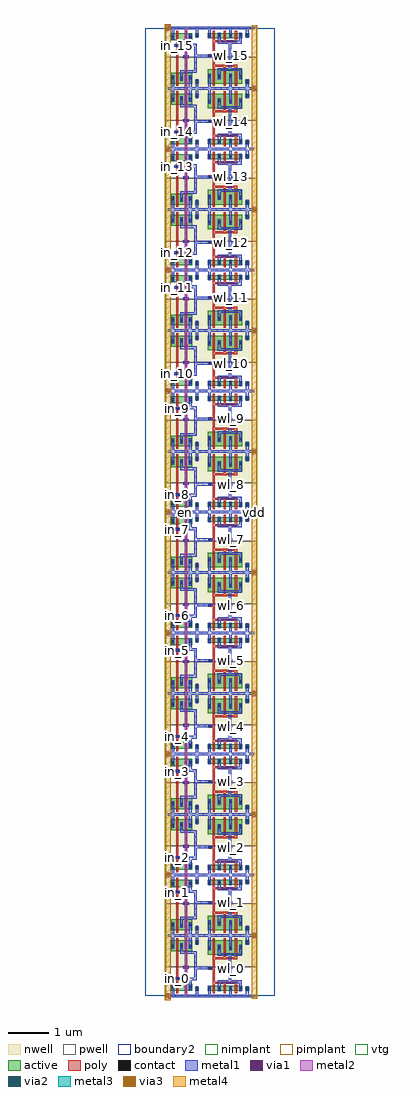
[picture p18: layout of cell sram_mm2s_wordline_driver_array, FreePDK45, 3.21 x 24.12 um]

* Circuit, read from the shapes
.subckt sram_mm2s_wordline_driver_array en gnd in_0 in_1 in_10 in_11 in_12 in_13 in_14 in_15 in_2 in_3 in_4 in_5 in_6 in_7 in_8 in_9 vdd wl_0 wl_1 wl_10 wl_11 wl_12 wl_13 wl_14 wl_15 wl_2 wl_3 wl_4 wl_5 wl_6 wl_7 wl_8 wl_9
M1 sram_mm2s_wordline_driver_0/sram_mm2s_pnand2_0/sram_mm2s_nmos_m1_w0_180_sm1_dactive_2/D in_0 gnd gnd nfet w=0.18u l=0.05u
M2 sram_mm2s_wordline_driver_1/sram_mm2s_pnand2_0/sram_mm2s_nmos_m1_w0_180_sm1_dactive_2/D in_1 gnd gnd nfet w=0.18u l=0.05u
M3 sram_mm2s_wordline_driver_2/sram_mm2s_pnand2_0/sram_mm2s_nmos_m1_w0_180_sm1_dactive_2/D in_2 gnd gnd nfet w=0.18u l=0.05u
M4 sram_mm2s_wordline_driver_3/sram_mm2s_pnand2_0/sram_mm2s_nmos_m1_w0_180_sm1_dactive_2/D in_3 gnd gnd nfet w=0.18u l=0.05u
M5 sram_mm2s_wordline_driver_4/sram_mm2s_pnand2_0/sram_mm2s_nmos_m1_w0_180_sm1_dactive_2/D in_4 gnd gnd nfet w=0.18u l=0.05u
M6 sram_mm2s_wordline_driver_5/sram_mm2s_pnand2_0/sram_mm2s_nmos_m1_w0_180_sm1_dactive_2/D in_5 gnd gnd nfet w=0.18u l=0.05u
M7 sram_mm2s_wordline_driver_6/sram_mm2s_pnand2_0/sram_mm2s_nmos_m1_w0_180_sm1_dactive_2/D in_6 gnd gnd nfet w=0.18u l=0.05u
M8 sram_mm2s_wordline_driver_7/sram_mm2s_pnand2_0/sram_mm2s_nmos_m1_w0_180_sm1_dactive_2/D in_7 gnd gnd nfet w=0.18u l=0.05u
M9 sram_mm2s_wordline_driver_8/sram_mm2s_pnand2_0/sram_mm2s_nmos_m1_w0_180_sm1_dactive_2/D in_8 gnd gnd nfet w=0.18u l=0.05u
M10 sram_mm2s_wordline_driver_9/sram_mm2s_pnand2_0/sram_mm2s_nmos_m1_w0_180_sm1_dactive_2/D in_9 gnd gnd nfet w=0.18u l=0.05u
M11 sram_mm2s_wordline_driver_10/sram_mm2s_pnand2_0/sram_mm2s_nmos_m1_w0_180_sm1_dactive_2/D in_10 gnd gnd nfet w=0.18u l=0.05u
M12 sram_mm2s_wordline_driver_11/sram_mm2s_pnand2_0/sram_mm2s_nmos_m1_w0_180_sm1_dactive_2/D in_11 gnd gnd nfet w=0.18u l=0.05u
M13 sram_mm2s_wordline_driver_12/sram_mm2s_pnand2_0/sram_mm2s_nmos_m1_w0_180_sm1_dactive_2/D in_12 gnd gnd nfet w=0.18u l=0.05u
M14 sram_mm2s_wordline_driver_13/sram_mm2s_pnand2_0/sram_mm2s_nmos_m1_w0_180_sm1_dactive_2/D in_13 gnd gnd nfet w=0.18u l=0.05u
M15 sram_mm2s_wordline_driver_14/sram_mm2s_pnand2_0/sram_mm2s_nmos_m1_w0_180_sm1_dactive_2/D in_14 gnd gnd nfet w=0.18u l=0.05u
M16 sram_mm2s_wordline_driver_15/sram_mm2s_pnand2_0/sram_mm2s_nmos_m1_w0_180_sm1_dactive_2/D in_15 gnd gnd nfet w=0.18u l=0.05u
M17 sram_mm2s_wordline_driver_0/sram_mm2s_pinv_0_1/A en sram_mm2s_wordline_driver_0/sram_mm2s_pnand2_0/sram_mm2s_nmos_m1_w0_180_sm1_dactive_2/D gnd nfet w=0.18u l=0.05u
M18 sram_mm2s_wordline_driver_1/sram_mm2s_pinv_0_1/A en sram_mm2s_wordline_driver_1/sram_mm2s_pnand2_0/sram_mm2s_nmos_m1_w0_180_sm1_dactive_2/D gnd nfet w=0.18u l=0.05u
M19 sram_mm2s_wordline_driver_2/sram_mm2s_pinv_0_1/A en sram_mm2s_wordline_driver_2/sram_mm2s_pnand2_0/sram_mm2s_nmos_m1_w0_180_sm1_dactive_2/D gnd nfet w=0.18u l=0.05u
M20 sram_mm2s_wordline_driver_3/sram_mm2s_pinv_0_1/A en sram_mm2s_wordline_driver_3/sram_mm2s_pnand2_0/sram_mm2s_nmos_m1_w0_180_sm1_dactive_2/D gnd nfet w=0.18u l=0.05u
M21 sram_mm2s_wordline_driver_4/sram_mm2s_pinv_0_1/A en sram_mm2s_wordline_driver_4/sram_mm2s_pnand2_0/sram_mm2s_nmos_m1_w0_180_sm1_dactive_2/D gnd nfet w=0.18u l=0.05u
M22 sram_mm2s_wordline_driver_5/sram_mm2s_pinv_0_1/A en sram_mm2s_wordline_driver_5/sram_mm2s_pnand2_0/sram_mm2s_nmos_m1_w0_180_sm1_dactive_2/D gnd nfet w=0.18u l=0.05u
M23 sram_mm2s_wordline_driver_6/sram_mm2s_pinv_0_1/A en sram_mm2s_wordline_driver_6/sram_mm2s_pnand2_0/sram_mm2s_nmos_m1_w0_180_sm1_dactive_2/D gnd nfet w=0.18u l=0.05u
M24 sram_mm2s_wordline_driver_7/sram_mm2s_pinv_0_1/A en sram_mm2s_wordline_driver_7/sram_mm2s_pnand2_0/sram_mm2s_nmos_m1_w0_180_sm1_dactive_2/D gnd nfet w=0.18u l=0.05u
M25 sram_mm2s_wordline_driver_8/sram_mm2s_pinv_0_1/A en sram_mm2s_wordline_driver_8/sram_mm2s_pnand2_0/sram_mm2s_nmos_m1_w0_180_sm1_dactive_2/D gnd nfet w=0.18u l=0.05u
M26 sram_mm2s_wordline_driver_9/sram_mm2s_pinv_0_1/A en sram_mm2s_wordline_driver_9/sram_mm2s_pnand2_0/sram_mm2s_nmos_m1_w0_180_sm1_dactive_2/D gnd nfet w=0.18u l=0.05u
M27 sram_mm2s_wordline_driver_10/sram_mm2s_pinv_0_1/A en sram_mm2s_wordline_driver_10/sram_mm2s_pnand2_0/sram_mm2s_nmos_m1_w0_180_sm1_dactive_2/D gnd nfet w=0.18u l=0.05u
M28 sram_mm2s_wordline_driver_11/sram_mm2s_pinv_0_1/A en sram_mm2s_wordline_driver_11/sram_mm2s_pnand2_0/sram_mm2s_nmos_m1_w0_180_sm1_dactive_2/D gnd nfet w=0.18u l=0.05u
M29 sram_mm2s_wordline_driver_12/sram_mm2s_pinv_0_1/A en sram_mm2s_wordline_driver_12/sram_mm2s_pnand2_0/sram_mm2s_nmos_m1_w0_180_sm1_dactive_2/D gnd nfet w=0.18u l=0.05u
M30 sram_mm2s_wordline_driver_13/sram_mm2s_pinv_0_1/A en sram_mm2s_wordline_driver_13/sram_mm2s_pnand2_0/sram_mm2s_nmos_m1_w0_180_sm1_dactive_2/D gnd nfet w=0.18u l=0.05u
M31 sram_mm2s_wordline_driver_14/sram_mm2s_pinv_0_1/A en sram_mm2s_wordline_driver_14/sram_mm2s_pnand2_0/sram_mm2s_nmos_m1_w0_180_sm1_dactive_2/D gnd nfet w=0.18u l=0.05u
M32 sram_mm2s_wordline_driver_15/sram_mm2s_pinv_0_1/A en sram_mm2s_wordline_driver_15/sram_mm2s_pnand2_0/sram_mm2s_nmos_m1_w0_180_sm1_dactive_2/D gnd nfet w=0.18u l=0.05u
M33 wl_0 sram_mm2s_wordline_driver_0/sram_mm2s_pinv_0_1/A gnd gnd nfet w=0.12u l=0.05u m=3
M34 wl_1 sram_mm2s_wordline_driver_1/sram_mm2s_pinv_0_1/A gnd gnd nfet w=0.12u l=0.05u m=3
M35 wl_2 sram_mm2s_wordline_driver_2/sram_mm2s_pinv_0_1/A gnd gnd nfet w=0.12u l=0.05u m=3
M36 wl_3 sram_mm2s_wordline_driver_3/sram_mm2s_pinv_0_1/A gnd gnd nfet w=0.12u l=0.05u m=3
M37 wl_4 sram_mm2s_wordline_driver_4/sram_mm2s_pinv_0_1/A gnd gnd nfet w=0.12u l=0.05u m=3
M38 wl_5 sram_mm2s_wordline_driver_5/sram_mm2s_pinv_0_1/A gnd gnd nfet w=0.12u l=0.05u m=3
M39 wl_6 sram_mm2s_wordline_driver_6/sram_mm2s_pinv_0_1/A gnd gnd nfet w=0.12u l=0.05u m=3
M40 wl_7 sram_mm2s_wordline_driver_7/sram_mm2s_pinv_0_1/A gnd gnd nfet w=0.12u l=0.05u m=3
M41 wl_8 sram_mm2s_wordline_driver_8/sram_mm2s_pinv_0_1/A gnd gnd nfet w=0.12u l=0.05u m=3
M42 wl_9 sram_mm2s_wordline_driver_9/sram_mm2s_pinv_0_1/A gnd gnd nfet w=0.12u l=0.05u m=3
M43 wl_10 sram_mm2s_wordline_driver_10/sram_mm2s_pinv_0_1/A gnd gnd nfet w=0.12u l=0.05u m=3
M44 wl_11 sram_mm2s_wordline_driver_11/sram_mm2s_pinv_0_1/A gnd gnd nfet w=0.12u l=0.05u m=3
M45 wl_12 sram_mm2s_wordline_driver_12/sram_mm2s_pinv_0_1/A gnd gnd nfet w=0.12u l=0.05u m=3
M46 wl_13 sram_mm2s_wordline_driver_13/sram_mm2s_pinv_0_1/A gnd gnd nfet w=0.12u l=0.05u m=3
M47 wl_14 sram_mm2s_wordline_driver_14/sram_mm2s_pinv_0_1/A gnd gnd nfet w=0.12u l=0.05u m=3
M48 wl_15 sram_mm2s_wordline_driver_15/sram_mm2s_pinv_0_1/A gnd gnd nfet w=0.12u l=0.05u m=3
M49 sram_mm2s_wordline_driver_0/sram_mm2s_pinv_0_1/A in_0 vdd vdd pfet w=0.27u l=0.05u
M50 sram_mm2s_wordline_driver_1/sram_mm2s_pinv_0_1/A in_1 vdd vdd pfet w=0.27u l=0.05u
M51 sram_mm2s_wordline_driver_2/sram_mm2s_pinv_0_1/A in_2 vdd vdd pfet w=0.27u l=0.05u
M52 sram_mm2s_wordline_driver_3/sram_mm2s_pinv_0_1/A in_3 vdd vdd pfet w=0.27u l=0.05u
M53 sram_mm2s_wordline_driver_4/sram_mm2s_pinv_0_1/A in_4 vdd vdd pfet w=0.27u l=0.05u
M54 sram_mm2s_wordline_driver_5/sram_mm2s_pinv_0_1/A in_5 vdd vdd pfet w=0.27u l=0.05u
M55 sram_mm2s_wordline_driver_6/sram_mm2s_pinv_0_1/A in_6 vdd vdd pfet w=0.27u l=0.05u
M56 sram_mm2s_wordline_driver_7/sram_mm2s_pinv_0_1/A in_7 vdd vdd pfet w=0.27u l=0.05u
M57 sram_mm2s_wordline_driver_8/sram_mm2s_pinv_0_1/A in_8 vdd vdd pfet w=0.27u l=0.05u
M58 sram_mm2s_wordline_driver_9/sram_mm2s_pinv_0_1/A in_9 vdd vdd pfet w=0.27u l=0.05u
M59 sram_mm2s_wordline_driver_10/sram_mm2s_pinv_0_1/A in_10 vdd vdd pfet w=0.27u l=0.05u
M60 sram_mm2s_wordline_driver_11/sram_mm2s_pinv_0_1/A in_11 vdd vdd pfet w=0.27u l=0.05u
M61 sram_mm2s_wordline_driver_12/sram_mm2s_pinv_0_1/A in_12 vdd vdd pfet w=0.27u l=0.05u
M62 sram_mm2s_wordline_driver_13/sram_mm2s_pinv_0_1/A in_13 vdd vdd pfet w=0.27u l=0.05u
M63 sram_mm2s_wordline_driver_14/sram_mm2s_pinv_0_1/A in_14 vdd vdd pfet w=0.27u l=0.05u
M64 sram_mm2s_wordline_driver_15/sram_mm2s_pinv_0_1/A in_15 vdd vdd pfet w=0.27u l=0.05u
M65 vdd en sram_mm2s_wordline_driver_0/sram_mm2s_pinv_0_1/A vdd pfet w=0.27u l=0.05u
M66 vdd en sram_mm2s_wordline_driver_1/sram_mm2s_pinv_0_1/A vdd pfet w=0.27u l=0.05u
M67 vdd en sram_mm2s_wordline_driver_2/sram_mm2s_pinv_0_1/A vdd pfet w=0.27u l=0.05u
M68 vdd en sram_mm2s_wordline_driver_3/sram_mm2s_pinv_0_1/A vdd pfet w=0.27u l=0.05u
M69 vdd en sram_mm2s_wordline_driver_4/sram_mm2s_pinv_0_1/A vdd pfet w=0.27u l=0.05u
M70 vdd en sram_mm2s_wordline_driver_5/sram_mm2s_pinv_0_1/A vdd pfet w=0.27u l=0.05u
M71 vdd en sram_mm2s_wordline_driver_6/sram_mm2s_pinv_0_1/A vdd pfet w=0.27u l=0.05u
M72 vdd en sram_mm2s_wordline_driver_7/sram_mm2s_pinv_0_1/A vdd pfet w=0.27u l=0.05u
M73 vdd en sram_mm2s_wordline_driver_8/sram_mm2s_pinv_0_1/A vdd pfet w=0.27u l=0.05u
M74 vdd en sram_mm2s_wordline_driver_9/sram_mm2s_pinv_0_1/A vdd pfet w=0.27u l=0.05u
M75 vdd en sram_mm2s_wordline_driver_10/sram_mm2s_pinv_0_1/A vdd pfet w=0.27u l=0.05u
M76 vdd en sram_mm2s_wordline_driver_11/sram_mm2s_pinv_0_1/A vdd pfet w=0.27u l=0.05u
M77 vdd en sram_mm2s_wordline_driver_12/sram_mm2s_pinv_0_1/A vdd pfet w=0.27u l=0.05u
M78 vdd en sram_mm2s_wordline_driver_13/sram_mm2s_pinv_0_1/A vdd pfet w=0.27u l=0.05u
M79 vdd en sram_mm2s_wordline_driver_14/sram_mm2s_pinv_0_1/A vdd pfet w=0.27u l=0.05u
M80 vdd en sram_mm2s_wordline_driver_15/sram_mm2s_pinv_0_1/A vdd pfet w=0.27u l=0.05u
M81 wl_0 sram_mm2s_wordline_driver_0/sram_mm2s_pinv_0_1/A vdd vdd pfet w=0.36u l=0.05u m=3
M82 wl_1 sram_mm2s_wordline_driver_1/sram_mm2s_pinv_0_1/A vdd vdd pfet w=0.36u l=0.05u m=3
M83 wl_2 sram_mm2s_wordline_driver_2/sram_mm2s_pinv_0_1/A vdd vdd pfet w=0.36u l=0.05u m=3
M84 wl_3 sram_mm2s_wordline_driver_3/sram_mm2s_pinv_0_1/A vdd vdd pfet w=0.36u l=0.05u m=3
M85 wl_4 sram_mm2s_wordline_driver_4/sram_mm2s_pinv_0_1/A vdd vdd pfet w=0.36u l=0.05u m=3
M86 wl_5 sram_mm2s_wordline_driver_5/sram_mm2s_pinv_0_1/A vdd vdd pfet w=0.36u l=0.05u m=3
M87 wl_6 sram_mm2s_wordline_driver_6/sram_mm2s_pinv_0_1/A vdd vdd pfet w=0.36u l=0.05u m=3
M88 wl_7 sram_mm2s_wordline_driver_7/sram_mm2s_pinv_0_1/A vdd vdd pfet w=0.36u l=0.05u m=3
M89 wl_8 sram_mm2s_wordline_driver_8/sram_mm2s_pinv_0_1/A vdd vdd pfet w=0.36u l=0.05u m=3
M90 wl_9 sram_mm2s_wordline_driver_9/sram_mm2s_pinv_0_1/A vdd vdd pfet w=0.36u l=0.05u m=3
M91 wl_10 sram_mm2s_wordline_driver_10/sram_mm2s_pinv_0_1/A vdd vdd pfet w=0.36u l=0.05u m=3
M92 wl_11 sram_mm2s_wordline_driver_11/sram_mm2s_pinv_0_1/A vdd vdd pfet w=0.36u l=0.05u m=3
M93 wl_12 sram_mm2s_wordline_driver_12/sram_mm2s_pinv_0_1/A vdd vdd pfet w=0.36u l=0.05u m=3
M94 wl_13 sram_mm2s_wordline_driver_13/sram_mm2s_pinv_0_1/A vdd vdd pfet w=0.36u l=0.05u m=3
M95 wl_14 sram_mm2s_wordline_driver_14/sram_mm2s_pinv_0_1/A vdd vdd pfet w=0.36u l=0.05u m=3
M96 wl_15 sram_mm2s_wordline_driver_15/sram_mm2s_pinv_0_1/A vdd vdd pfet w=0.36u l=0.05u m=3
.ends

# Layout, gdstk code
import gdstk
lib = gdstk.Library(unit=1e-6, precision=5e-10)
def R(c, l, rs):  # rectangles x0, y0, x1, y1
    for r in rs: c.add(gdstk.rectangle(r[:2], r[2:], *l))
def A(c, l, x, y, w, h, nx, ny, dx, dy):  # array of equal rectangles
    R(c, l, [(x+i*dx, y+j*dy, x+i*dx+w, y+j*dy+h) for i in range(nx) for j in range(ny)])
active = (1, 0)
pwell = (2, 0)
nwell = (3, 0)
nimplant = (4, 0)
pimplant = (5, 0)
vtg = (6, 0)
poly = (9, 0)
contact = (10, 0)
metal1 = (11, 0)
via1 = (12, 0)
metal2 = (13, 0)
via2 = (14, 0)
metal3 = (15, 0)
via3 = (16, 0)
metal4 = (17, 0)
boundary2 = (239, 0)

sram_mm2s_contact_11 = lib.new_cell('sram_mm2s_contact_11')
R(sram_mm2s_contact_11, active, [(0,0.0225,0.09,0.1125)])
R(sram_mm2s_contact_11, nwell, [(-0.055,-0.0325,0.145,0.1675)])
R(sram_mm2s_contact_11, pimplant, [(0,0.0225,0.09,0.1125)])
R(sram_mm2s_contact_11, contact, [(0.0125,0.035,0.0775,0.1)])
R(sram_mm2s_contact_11, metal1, [(0.0125,0,0.0775,0.135)])
R(sram_mm2s_contact_11, boundary2, [(-0.055,-0.0325,0.145,0.1675)])

sram_mm2s_pmos_m1_w0_270 = lib.new_cell('sram_mm2s_pmos_m1_w0_270_sm1_dm1')
R(sram_mm2s_pmos_m1_w0_270, active, [(0,0,0.305,0.27)])
R(sram_mm2s_pmos_m1_w0_270, nwell, [(-0.08,-0.08,0.385,0.35)])
R(sram_mm2s_pmos_m1_w0_270, pimplant, [(0,0,0.305,0.27)])
R(sram_mm2s_pmos_m1_w0_270, vtg, [(-0.08,-0.08,0.385,0.35)])
R(sram_mm2s_pmos_m1_w0_270, poly, [(0.1275,-0.055,0.1775,0.325), (0.1275,-0.055,0.1775,0.325)])
R(sram_mm2s_pmos_m1_w0_270, metal1, [(0.0125,0.0675,0.0775,0.2025), (0.2275,0.0675,0.2925,0.2025)])
R(sram_mm2s_pmos_m1_w0_270, boundary2, [(-0.08,-0.08,0.385,0.35)])
sram_mm2s_pmos_m1_w0_270.add(gdstk.Reference(sram_mm2s_contact_11, (0,0.0675)))
sram_mm2s_pmos_m1_w0_270.add(gdstk.Reference(sram_mm2s_contact_11, (0.215,0.0675)))
sram_mm2s_pmos_m1_w0_270.add(gdstk.Label('G', (0.1525,0.135), layer=9, texttype=0))
sram_mm2s_pmos_m1_w0_270.add(gdstk.Label('S', (0.045,0.135), layer=11, texttype=0))
sram_mm2s_pmos_m1_w0_270.add(gdstk.Label('D', (0.26,0.135), layer=11, texttype=0))

sram_mm2s_contact_10 = lib.new_cell('sram_mm2s_contact_10')
R(sram_mm2s_contact_10, active, [(0,0.0225,0.09,0.1125)])
R(sram_mm2s_contact_10, pwell, [(-0.055,-0.0325,0.145,0.1675)])
R(sram_mm2s_contact_10, nimplant, [(0,0.0225,0.09,0.1125)])
R(sram_mm2s_contact_10, contact, [(0.0125,0.035,0.0775,0.1)])
R(sram_mm2s_contact_10, metal1, [(0.0125,0,0.0775,0.135)])
R(sram_mm2s_contact_10, boundary2, [(-0.055,-0.0325,0.145,0.1675)])

sram_mm2s_nmos_m1_w0_180 = lib.new_cell('sram_mm2s_nmos_m1_w0_180_sm1_dactive')
R(sram_mm2s_nmos_m1_w0_180, active, [(0,0,0.305,0.18), (0.215,0.045,0.305,0.135)])
R(sram_mm2s_nmos_m1_w0_180, pwell, [(-0.08,-0.08,0.385,0.26)])
R(sram_mm2s_nmos_m1_w0_180, nimplant, [(0,0,0.305,0.18)])
R(sram_mm2s_nmos_m1_w0_180, vtg, [(-0.08,-0.08,0.385,0.26)])
R(sram_mm2s_nmos_m1_w0_180, poly, [(0.1275,-0.055,0.1775,0.235), (0.1275,-0.055,0.1775,0.235)])
R(sram_mm2s_nmos_m1_w0_180, metal1, [(0.0125,0.0225,0.0775,0.1575)])
R(sram_mm2s_nmos_m1_w0_180, boundary2, [(-0.08,-0.08,0.385,0.26)])
sram_mm2s_nmos_m1_w0_180.add(gdstk.Reference(sram_mm2s_contact_10, (0,0.0225)))
sram_mm2s_nmos_m1_w0_180.add(gdstk.Label('G', (0.1525,0.09), layer=9, texttype=0))
sram_mm2s_nmos_m1_w0_180.add(gdstk.Label('S', (0.045,0.09), layer=11, texttype=0))
sram_mm2s_nmos_m1_w0_180.add(gdstk.Label('D', (0.26,0.09), layer=1, texttype=0))

c_sram_mm2s_nmos_m1_w0_180 = lib.new_cell('sram_mm2s_nmos_m1_w0_180_sactive_dm1')
R(c_sram_mm2s_nmos_m1_w0_180, active, [(0,0,0.305,0.18), (0,0.045,0.09,0.135)])
R(c_sram_mm2s_nmos_m1_w0_180, pwell, [(-0.08,-0.08,0.385,0.26)])
R(c_sram_mm2s_nmos_m1_w0_180, nimplant, [(0,0,0.305,0.18)])
R(c_sram_mm2s_nmos_m1_w0_180, vtg, [(-0.08,-0.08,0.385,0.26)])
R(c_sram_mm2s_nmos_m1_w0_180, poly, [(0.1275,-0.055,0.1775,0.235), (0.1275,-0.055,0.1775,0.235)])
R(c_sram_mm2s_nmos_m1_w0_180, metal1, [(0.2275,0.0225,0.2925,0.1575)])
R(c_sram_mm2s_nmos_m1_w0_180, boundary2, [(-0.08,-0.08,0.385,0.26)])
c_sram_mm2s_nmos_m1_w0_180.add(gdstk.Reference(sram_mm2s_contact_10, (0.215,0.0225)))
c_sram_mm2s_nmos_m1_w0_180.add(gdstk.Label('G', (0.1525,0.09), layer=9, texttype=0))
c_sram_mm2s_nmos_m1_w0_180.add(gdstk.Label('S', (0.045,0.09), layer=1, texttype=0))
c_sram_mm2s_nmos_m1_w0_180.add(gdstk.Label('D', (0.26,0.09), layer=11, texttype=0))

sram_mm2s_contact_12 = lib.new_cell('sram_mm2s_contact_12')
R(sram_mm2s_contact_12, active, [(0,0.0225,0.09,0.1125)])
R(sram_mm2s_contact_12, nwell, [(-0.055,-0.0325,0.145,0.1675)])
R(sram_mm2s_contact_12, nimplant, [(0,0.0225,0.09,0.1125)])
R(sram_mm2s_contact_12, contact, [(0.0125,0.035,0.0775,0.1)])
R(sram_mm2s_contact_12, metal1, [(0.0125,0,0.0775,0.135)])
R(sram_mm2s_contact_12, boundary2, [(-0.055,-0.0325,0.145,0.1675)])

sram_mm2s_contact_13 = lib.new_cell('sram_mm2s_contact_13')
R(sram_mm2s_contact_13, active, [(0,0.0225,0.09,0.1125)])
R(sram_mm2s_contact_13, pwell, [(-0.055,-0.0325,0.145,0.1675)])
R(sram_mm2s_contact_13, pimplant, [(0,0.0225,0.09,0.1125)])
R(sram_mm2s_contact_13, contact, [(0.0125,0.035,0.0775,0.1)])
R(sram_mm2s_contact_13, metal1, [(0.0125,0,0.0775,0.135)])
R(sram_mm2s_contact_13, boundary2, [(-0.055,-0.0325,0.145,0.1675)])

sram_mm2s_contact_14 = lib.new_cell('sram_mm2s_contact_14')
R(sram_mm2s_contact_14, poly, [(0.03,0,0.105,0.075)])
R(sram_mm2s_contact_14, contact, [(0.035,0.005,0.1,0.07)])
R(sram_mm2s_contact_14, metal1, [(0,0.005,0.135,0.07)])
R(sram_mm2s_contact_14, boundary2, [(0,0,0.135,0.075)])

sram_mm2s_pnand2 = lib.new_cell('sram_mm2s_pnand2')
R(sram_mm2s_pnand2, pwell, [(-0.055,-0.0325,0.9575,0.7175)])
R(sram_mm2s_pnand2, nwell, [(-0.055,0.7175,0.9575,1.53)])
R(sram_mm2s_pnand2, vtg, [(-0.055,-0.0325,0.9575,0.7175), (-0.055,0.7175,0.9575,1.53)])
R(sram_mm2s_pnand2, poly, [(0.2075,0.36,0.2575,1.045), (0.4225,0.36,0.4725,1.045), (0.2075,0.39,0.2325,0.465), (0.4225,0.67,0.4475,0.745)])
R(sram_mm2s_pnand2, metal1, [(0,-0.0325,0.9025,0.0325), (0.0925,-0.0325,0.1575,0.1475), (0.6925,0,0.7575,0.17), (0.5225,0.2825,0.5875,0.4125), (0.5225,0.38,0.5875,0.445), (0.555,0.38,0.685,0.445), (0.6525,0.38,0.7175,0.445), (0.165,0.395,0.3,0.46), (0.6525,0.4125,0.7175,1.07), (0.38,0.675,0.515,0.74), (0.3075,1.0375,0.3725,1.1025), (0.34,1.0375,0.685,1.1025), (0.6525,1.0375,0.7175,1.1025), (0.3075,1.07,0.3725,1.1675), (0.0925,1.1675,0.1575,1.5275), (0.5225,1.1675,0.5875,1.5275), (0.6925,1.325,0.7575,1.495), (0,1.4625,0.9025,1.5275)])
R(sram_mm2s_pnand2, boundary2, [(0,0,0.9025,1.495), (0,0,0.9025,1.495)])
sram_mm2s_pnand2.add(gdstk.Reference(sram_mm2s_pmos_m1_w0_270, (0.08,1.1)))
sram_mm2s_pnand2.add(gdstk.Reference(sram_mm2s_pmos_m1_w0_270, (0.295,1.1)))
sram_mm2s_pnand2.add(gdstk.Reference(sram_mm2s_nmos_m1_w0_180, (0.08,0.125)))
sram_mm2s_pnand2.add(gdstk.Reference(c_sram_mm2s_nmos_m1_w0_180, (0.295,0.125)))
sram_mm2s_pnand2.add(gdstk.Reference(sram_mm2s_contact_12, (0.68,1.2575)))
sram_mm2s_pnand2.add(gdstk.Reference(sram_mm2s_contact_13, (0.68,0.1025)))
sram_mm2s_pnand2.add(gdstk.Reference(sram_mm2s_contact_14, (0.165,0.39)))
sram_mm2s_pnand2.add(gdstk.Reference(sram_mm2s_contact_14, (0.38,0.67)))
sram_mm2s_pnand2.add(gdstk.Label('Z', (0.685,1.07), layer=11, texttype=0))
sram_mm2s_pnand2.add(gdstk.Label('gnd', (0.451,0), layer=11, texttype=0))
sram_mm2s_pnand2.add(gdstk.Label('vdd', (0.451,1.495), layer=11, texttype=0))
sram_mm2s_pnand2.add(gdstk.Label('A', (0.2325,0.4275), layer=11, texttype=0))
sram_mm2s_pnand2.add(gdstk.Label('B', (0.4475,0.7075), layer=11, texttype=0))

sram_mm2s_pmos_m3_w0_360 = lib.new_cell('sram_mm2s_pmos_m3_w0_360_sm1_dm1_da_p')
R(sram_mm2s_pmos_m3_w0_360, active, [(0,0,0.855,0.36)])
R(sram_mm2s_pmos_m3_w0_360, nwell, [(-0.08,-0.08,0.935,0.44)])
R(sram_mm2s_pmos_m3_w0_360, pimplant, [(0,0,0.855,0.36)])
R(sram_mm2s_pmos_m3_w0_360, vtg, [(-0.08,-0.08,0.935,0.44)])
A(sram_mm2s_pmos_m3_w0_360, poly, 0.1275, -0.055, 0.05, 0.47, 3, 1, 0.275, 0)
R(sram_mm2s_pmos_m3_w0_360, poly, [(0.1275,-0.105,0.7275,-0.055)])
R(sram_mm2s_pmos_m3_w0_360, metal1, [(0.2575,-0.0175,0.8425,0.0475), (0.2575,0.015,0.3225,0.18), (0.7775,0.015,0.8425,0.18), (0.0125,0.1125,0.0775,0.2475), (0.5325,0.1125,0.5975,0.2475)])
R(sram_mm2s_pmos_m3_w0_360, boundary2, [(-0.08,-0.105,0.935,0.44)])
sram_mm2s_pmos_m3_w0_360.add(gdstk.Reference(sram_mm2s_contact_11, (0,0.1125)))
sram_mm2s_pmos_m3_w0_360.add(gdstk.Reference(sram_mm2s_contact_11, (0.245,0.1125)))
sram_mm2s_pmos_m3_w0_360.add(gdstk.Reference(sram_mm2s_contact_11, (0.52,0.1125)))
sram_mm2s_pmos_m3_w0_360.add(gdstk.Reference(sram_mm2s_contact_11, (0.765,0.1125)))
sram_mm2s_pmos_m3_w0_360.add(gdstk.Label('G', (0.4275,-0.08), layer=9, texttype=0))
sram_mm2s_pmos_m3_w0_360.add(gdstk.Label('S', (0.045,0.18), layer=11, texttype=0))
sram_mm2s_pmos_m3_w0_360.add(gdstk.Label('S', (0.565,0.18), layer=11, texttype=0))
sram_mm2s_pmos_m3_w0_360.add(gdstk.Label('D', (0.55,0.015), layer=11, texttype=0))

sram_mm2s_nmos_m3_w0_120 = lib.new_cell('sram_mm2s_nmos_m3_w0_120_sm1_dm1_da_p')
R(sram_mm2s_nmos_m3_w0_120, active, [(0,0,0.855,0.12)])
R(sram_mm2s_nmos_m3_w0_120, pwell, [(-0.08,-0.08,0.935,0.2)])
R(sram_mm2s_nmos_m3_w0_120, nimplant, [(0,0,0.855,0.12)])
R(sram_mm2s_nmos_m3_w0_120, vtg, [(-0.08,-0.08,0.935,0.2)])
A(sram_mm2s_nmos_m3_w0_120, poly, 0.1275, -0.055, 0.05, 0.23, 3, 1, 0.275, 0)
R(sram_mm2s_nmos_m3_w0_120, poly, [(0.1275,0.175,0.7275,0.225)])
R(sram_mm2s_nmos_m3_w0_120, metal1, [(0.0125,-0.0075,0.0775,0.1275), (0.5325,-0.0075,0.5975,0.1275), (0.2575,0.06,0.3225,0.225), (0.7775,0.06,0.8425,0.225), (0.2575,0.1925,0.8425,0.2575)])
R(sram_mm2s_nmos_m3_w0_120, boundary2, [(-0.08,-0.08,0.935,0.2575)])
sram_mm2s_nmos_m3_w0_120.add(gdstk.Reference(sram_mm2s_contact_10, (0,-0.0075)))
sram_mm2s_nmos_m3_w0_120.add(gdstk.Reference(sram_mm2s_contact_10, (0.245,-0.0075)))
sram_mm2s_nmos_m3_w0_120.add(gdstk.Reference(sram_mm2s_contact_10, (0.52,-0.0075)))
sram_mm2s_nmos_m3_w0_120.add(gdstk.Reference(sram_mm2s_contact_10, (0.765,-0.0075)))
sram_mm2s_nmos_m3_w0_120.add(gdstk.Label('G', (0.4275,0.2), layer=9, texttype=0))
sram_mm2s_nmos_m3_w0_120.add(gdstk.Label('S', (0.045,0.06), layer=11, texttype=0))
sram_mm2s_nmos_m3_w0_120.add(gdstk.Label('S', (0.565,0.06), layer=11, texttype=0))
sram_mm2s_nmos_m3_w0_120.add(gdstk.Label('D', (0.55,0.225), layer=11, texttype=0))

sram_mm2s_pinv_0 = lib.new_cell('sram_mm2s_pinv_0')
R(sram_mm2s_pinv_0, pwell, [(-0.055,-0.0325,1.2925,0.7175)])
R(sram_mm2s_pinv_0, nwell, [(-0.055,0.7175,1.2925,1.53)])
R(sram_mm2s_pinv_0, vtg, [(-0.055,-0.0325,1.2925,0.7175), (-0.055,0.7175,1.2925,1.53)])
R(sram_mm2s_pinv_0, poly, [(0.2075,0.35,0.2575,0.905), (0.14,0.65,0.2075,0.725)])
R(sram_mm2s_pinv_0, metal1, [(0,-0.0325,1.2375,0.0325), (0.0925,-0.0325,0.1575,0.1175), (0.6125,-0.0325,0.6775,0.1175), (1.0275,0,1.0925,0.17), (0.5975,0.3175,0.6625,1.0575), (0.0725,0.655,0.2075,0.72), (0.63,0.655,0.695,0.72), (0.0925,1.1225,0.1575,1.5275), (0.6125,1.1225,0.6775,1.5275), (1.0275,1.325,1.0925,1.495), (0,1.4625,1.2375,1.5275)])
R(sram_mm2s_pinv_0, boundary2, [(0,0,1.2375,1.495), (0,0,1.2375,1.495)])
sram_mm2s_pinv_0.add(gdstk.Reference(sram_mm2s_pmos_m3_w0_360, (0.08,1.01)))
sram_mm2s_pinv_0.add(gdstk.Reference(sram_mm2s_nmos_m3_w0_120, (0.08,0.125)))
sram_mm2s_pinv_0.add(gdstk.Reference(sram_mm2s_contact_12, (1.015,1.2575)))
sram_mm2s_pinv_0.add(gdstk.Reference(sram_mm2s_contact_13, (1.015,0.1025)))
sram_mm2s_pinv_0.add(gdstk.Reference(sram_mm2s_contact_14, (0.0725,0.65)))
sram_mm2s_pinv_0.add(gdstk.Label('A', (0.14,0.6875), layer=11, texttype=0))
sram_mm2s_pinv_0.add(gdstk.Label('Z', (0.6625,0.6875), layer=11, texttype=0))
sram_mm2s_pinv_0.add(gdstk.Label('gnd', (0.619,0), layer=11, texttype=0))
sram_mm2s_pinv_0.add(gdstk.Label('vdd', (0.619,1.495), layer=11, texttype=0))

sram_mm2s_wordline_drive = lib.new_cell('sram_mm2s_wordline_driver')
R(sram_mm2s_wordline_drive, metal1, [(0,-0.0325,2.14,0.0325), (0.165,0.395,0.3,0.46), (0.6525,0.655,0.7175,0.72), (0.685,0.655,1.0425,0.72), (1.5325,0.655,1.5975,0.72), (0.38,0.675,0.515,0.74), (0.6525,0.6875,0.7175,1.07), (0,1.4625,2.14,1.5275)])
R(sram_mm2s_wordline_drive, boundary2, [(0,0,2.14,1.495)])
sram_mm2s_wordline_drive.add(gdstk.Reference(sram_mm2s_pnand2, (0,0)))
sram_mm2s_wordline_drive.add(gdstk.Reference(sram_mm2s_pinv_0, (0.9025,0)))
sram_mm2s_wordline_drive.add(gdstk.Label('Z', (1.565,0.6875), layer=11, texttype=0))
sram_mm2s_wordline_drive.add(gdstk.Label('A', (0.2325,0.4275), layer=11, texttype=0))
sram_mm2s_wordline_drive.add(gdstk.Label('B', (0.4475,0.7075), layer=11, texttype=0))
sram_mm2s_wordline_drive.add(gdstk.Label('gnd', (1.07,0), layer=11, texttype=0))
sram_mm2s_wordline_drive.add(gdstk.Label('vdd', (1.07,1.495), layer=11, texttype=0))

sram_mm2s_contact_17 = lib.new_cell('sram_mm2s_contact_17')
R(sram_mm2s_contact_17, metal1, [(0,0.035,0.135,0.1)])
R(sram_mm2s_contact_17, via1, [(0.035,0.035,0.1,0.1)])
R(sram_mm2s_contact_17, metal2, [(0.0325,0,0.1025,0.135)])
R(sram_mm2s_contact_17, boundary2, [(0,0,0.135,0.135)])

sram_mm2s_contact_18 = lib.new_cell('sram_mm2s_contact_18')
R(sram_mm2s_contact_18, metal2, [(0.0325,0,0.1025,0.135)])
R(sram_mm2s_contact_18, via2, [(0.035,0.035,0.1,0.1)])
R(sram_mm2s_contact_18, metal3, [(0,0.0325,0.135,0.1025)])
R(sram_mm2s_contact_18, boundary2, [(0,0,0.135,0.135)])

sram_mm2s_contact_21 = lib.new_cell('sram_mm2s_contact_21')
R(sram_mm2s_contact_21, metal3, [(0,0.035,0.14,0.105)])
R(sram_mm2s_contact_21, via3, [(0.035,0.035,0.105,0.105)])
R(sram_mm2s_contact_21, metal4, [(0,0,0.14,0.14)])
R(sram_mm2s_contact_21, boundary2, [(0,0,0.14,0.14)])

c_sram_mm2s_wordline_drive = lib.new_cell('sram_mm2s_wordline_driver_array')
R(c_sram_mm2s_wordline_drive, metal1, [(0.725,0.395,0.86,0.46), (2.0925,0.655,2.1575,0.72), (2.0925,2.27,2.1575,2.335), (0.725,2.53,0.86,2.595), (0.725,3.385,0.86,3.45), (2.0925,3.645,2.1575,3.71), (2.0925,5.26,2.1575,5.325), (0.725,5.52,0.86,5.585), (0.725,6.375,0.86,6.44), (2.0925,6.635,2.1575,6.7), (2.0925,8.25,2.1575,8.315), (0.725,8.51,0.86,8.575), (0.725,9.365,0.86,9.43), (2.0925,9.625,2.1575,9.69), (2.0925,11.24,2.1575,11.305), (0.725,11.5,0.86,11.565), (0.725,12.355,0.86,12.42), (2.0925,12.615,2.1575,12.68), (2.0925,14.23,2.1575,14.295), (0.725,14.49,0.86,14.555), (0.725,15.345,0.86,15.41), (2.0925,15.605,2.1575,15.67), (2.0925,17.22,2.1575,17.285), (0.725,17.48,0.86,17.545), (0.725,18.335,0.86,18.4), (2.0925,18.595,2.1575,18.66), (2.0925,20.21,2.1575,20.275), (0.725,20.47,0.86,20.535), (0.725,21.325,0.86,21.39), (2.0925,21.585,2.1575,21.65), (2.0925,23.2,2.1575,23.265), (0.725,23.46,0.86,23.525)])
R(c_sram_mm2s_wordline_drive, metal2, [(0.9725,0,1.0425,23.92)])
R(c_sram_mm2s_wordline_drive, metal4, [(0.49,-0.1025,0.63,24.0225), (2.63,-0.07,2.77,23.99)])
R(c_sram_mm2s_wordline_drive, boundary2, [(0,0,3.205,23.92)])
c_sram_mm2s_wordline_drive.add(gdstk.Reference(sram_mm2s_wordline_drive, (0.56,0)))
c_sram_mm2s_wordline_drive.add(gdstk.Reference(sram_mm2s_wordline_drive, (0.56,2.99), x_reflection=True))
c_sram_mm2s_wordline_drive.add(gdstk.Reference(sram_mm2s_wordline_drive, (0.56,2.99)))
c_sram_mm2s_wordline_drive.add(gdstk.Reference(sram_mm2s_wordline_drive, (0.56,5.98), x_reflection=True))
c_sram_mm2s_wordline_drive.add(gdstk.Reference(sram_mm2s_wordline_drive, (0.56,5.98)))
c_sram_mm2s_wordline_drive.add(gdstk.Reference(sram_mm2s_wordline_drive, (0.56,8.97), x_reflection=True))
c_sram_mm2s_wordline_drive.add(gdstk.Reference(sram_mm2s_wordline_drive, (0.56,8.97)))
c_sram_mm2s_wordline_drive.add(gdstk.Reference(sram_mm2s_wordline_drive, (0.56,11.96), x_reflection=True))
c_sram_mm2s_wordline_drive.add(gdstk.Reference(sram_mm2s_wordline_drive, (0.56,11.96)))
c_sram_mm2s_wordline_drive.add(gdstk.Reference(sram_mm2s_wordline_drive, (0.56,14.95), x_reflection=True))
c_sram_mm2s_wordline_drive.add(gdstk.Reference(sram_mm2s_wordline_drive, (0.56,14.95)))
c_sram_mm2s_wordline_drive.add(gdstk.Reference(sram_mm2s_wordline_drive, (0.56,17.94), x_reflection=True))
c_sram_mm2s_wordline_drive.add(gdstk.Reference(sram_mm2s_wordline_drive, (0.56,17.94)))
c_sram_mm2s_wordline_drive.add(gdstk.Reference(sram_mm2s_wordline_drive, (0.56,20.93), x_reflection=True))
c_sram_mm2s_wordline_drive.add(gdstk.Reference(sram_mm2s_wordline_drive, (0.56,20.93)))
c_sram_mm2s_wordline_drive.add(gdstk.Reference(sram_mm2s_wordline_drive, (0.56,23.92), x_reflection=True))
c_sram_mm2s_wordline_drive.add(gdstk.Reference(sram_mm2s_contact_17, (0.94,0.64)))
c_sram_mm2s_wordline_drive.add(gdstk.Reference(sram_mm2s_contact_17, (0.94,2.215)))
c_sram_mm2s_wordline_drive.add(gdstk.Reference(sram_mm2s_contact_17, (0.94,3.63)))
c_sram_mm2s_wordline_drive.add(gdstk.Reference(sram_mm2s_contact_17, (0.94,5.205)))
c_sram_mm2s_wordline_drive.add(gdstk.Reference(sram_mm2s_contact_17, (0.94,6.62)))
c_sram_mm2s_wordline_drive.add(gdstk.Reference(sram_mm2s_contact_17, (0.94,8.195)))
c_sram_mm2s_wordline_drive.add(gdstk.Reference(sram_mm2s_contact_17, (0.94,9.61)))
c_sram_mm2s_wordline_drive.add(gdstk.Reference(sram_mm2s_contact_17, (0.94,11.185)))
c_sram_mm2s_wordline_drive.add(gdstk.Reference(sram_mm2s_contact_17, (0.94,12.6)))
c_sram_mm2s_wordline_drive.add(gdstk.Reference(sram_mm2s_contact_17, (0.94,14.175)))
c_sram_mm2s_wordline_drive.add(gdstk.Reference(sram_mm2s_contact_17, (0.94,15.59)))
c_sram_mm2s_wordline_drive.add(gdstk.Reference(sram_mm2s_contact_17, (0.94,17.165)))
c_sram_mm2s_wordline_drive.add(gdstk.Reference(sram_mm2s_contact_17, (0.94,18.58)))
c_sram_mm2s_wordline_drive.add(gdstk.Reference(sram_mm2s_contact_17, (0.94,20.155)))
c_sram_mm2s_wordline_drive.add(gdstk.Reference(sram_mm2s_contact_17, (0.94,21.57)))
c_sram_mm2s_wordline_drive.add(gdstk.Reference(sram_mm2s_contact_17, (0.94,23.145)))
c_sram_mm2s_wordline_drive.add(gdstk.Reference(sram_mm2s_contact_17, (2.6325,1.4275)))
c_sram_mm2s_wordline_drive.add(gdstk.Reference(sram_mm2s_contact_18, (2.6325,1.4275)))
c_sram_mm2s_wordline_drive.add(gdstk.Reference(sram_mm2s_contact_21, (2.63,1.425)))
c_sram_mm2s_wordline_drive.add(gdstk.Reference(sram_mm2s_contact_17, (2.6325,1.4275)))
c_sram_mm2s_wordline_drive.add(gdstk.Reference(sram_mm2s_contact_18, (2.6325,1.4275)))
c_sram_mm2s_wordline_drive.add(gdstk.Reference(sram_mm2s_contact_21, (2.63,1.425)))
c_sram_mm2s_wordline_drive.add(gdstk.Reference(sram_mm2s_contact_17, (2.6325,4.4175)))
c_sram_mm2s_wordline_drive.add(gdstk.Reference(sram_mm2s_contact_18, (2.6325,4.4175)))
c_sram_mm2s_wordline_drive.add(gdstk.Reference(sram_mm2s_contact_21, (2.63,4.415)))
c_sram_mm2s_wordline_drive.add(gdstk.Reference(sram_mm2s_contact_17, (2.6325,4.4175)))
c_sram_mm2s_wordline_drive.add(gdstk.Reference(sram_mm2s_contact_18, (2.6325,4.4175)))
c_sram_mm2s_wordline_drive.add(gdstk.Reference(sram_mm2s_contact_21, (2.63,4.415)))
c_sram_mm2s_wordline_drive.add(gdstk.Reference(sram_mm2s_contact_17, (2.6325,7.4075)))
c_sram_mm2s_wordline_drive.add(gdstk.Reference(sram_mm2s_contact_18, (2.6325,7.4075)))
c_sram_mm2s_wordline_drive.add(gdstk.Reference(sram_mm2s_contact_21, (2.63,7.405)))
c_sram_mm2s_wordline_drive.add(gdstk.Reference(sram_mm2s_contact_17, (2.6325,7.4075)))
c_sram_mm2s_wordline_drive.add(gdstk.Reference(sram_mm2s_contact_18, (2.6325,7.4075)))
c_sram_mm2s_wordline_drive.add(gdstk.Reference(sram_mm2s_contact_21, (2.63,7.405)))
c_sram_mm2s_wordline_drive.add(gdstk.Reference(sram_mm2s_contact_17, (2.6325,10.3975)))
c_sram_mm2s_wordline_drive.add(gdstk.Reference(sram_mm2s_contact_18, (2.6325,10.3975)))
c_sram_mm2s_wordline_drive.add(gdstk.Reference(sram_mm2s_contact_21, (2.63,10.395)))
c_sram_mm2s_wordline_drive.add(gdstk.Reference(sram_mm2s_contact_17, (2.6325,10.3975)))
c_sram_mm2s_wordline_drive.add(gdstk.Reference(sram_mm2s_contact_18, (2.6325,10.3975)))
c_sram_mm2s_wordline_drive.add(gdstk.Reference(sram_mm2s_contact_21, (2.63,10.395)))
c_sram_mm2s_wordline_drive.add(gdstk.Reference(sram_mm2s_contact_17, (2.6325,13.3875)))
c_sram_mm2s_wordline_drive.add(gdstk.Reference(sram_mm2s_contact_18, (2.6325,13.3875)))
c_sram_mm2s_wordline_drive.add(gdstk.Reference(sram_mm2s_contact_21, (2.63,13.385)))
c_sram_mm2s_wordline_drive.add(gdstk.Reference(sram_mm2s_contact_17, (2.6325,13.3875)))
c_sram_mm2s_wordline_drive.add(gdstk.Reference(sram_mm2s_contact_18, (2.6325,13.3875)))
c_sram_mm2s_wordline_drive.add(gdstk.Reference(sram_mm2s_contact_21, (2.63,13.385)))
c_sram_mm2s_wordline_drive.add(gdstk.Reference(sram_mm2s_contact_17, (2.6325,16.3775)))
c_sram_mm2s_wordline_drive.add(gdstk.Reference(sram_mm2s_contact_18, (2.6325,16.3775)))
c_sram_mm2s_wordline_drive.add(gdstk.Reference(sram_mm2s_contact_21, (2.63,16.375)))
c_sram_mm2s_wordline_drive.add(gdstk.Reference(sram_mm2s_contact_17, (2.6325,16.3775)))
c_sram_mm2s_wordline_drive.add(gdstk.Reference(sram_mm2s_contact_18, (2.6325,16.3775)))
c_sram_mm2s_wordline_drive.add(gdstk.Reference(sram_mm2s_contact_21, (2.63,16.375)))
c_sram_mm2s_wordline_drive.add(gdstk.Reference(sram_mm2s_contact_17, (2.6325,19.3675)))
c_sram_mm2s_wordline_drive.add(gdstk.Reference(sram_mm2s_contact_18, (2.6325,19.3675)))
c_sram_mm2s_wordline_drive.add(gdstk.Reference(sram_mm2s_contact_21, (2.63,19.365)))
c_sram_mm2s_wordline_drive.add(gdstk.Reference(sram_mm2s_contact_17, (2.6325,19.3675)))
c_sram_mm2s_wordline_drive.add(gdstk.Reference(sram_mm2s_contact_18, (2.6325,19.3675)))
c_sram_mm2s_wordline_drive.add(gdstk.Reference(sram_mm2s_contact_21, (2.63,19.365)))
c_sram_mm2s_wordline_drive.add(gdstk.Reference(sram_mm2s_contact_17, (2.6325,22.3575)))
c_sram_mm2s_wordline_drive.add(gdstk.Reference(sram_mm2s_contact_18, (2.6325,22.3575)))
c_sram_mm2s_wordline_drive.add(gdstk.Reference(sram_mm2s_contact_21, (2.63,22.355)))
c_sram_mm2s_wordline_drive.add(gdstk.Reference(sram_mm2s_contact_17, (2.6325,22.3575)))
c_sram_mm2s_wordline_drive.add(gdstk.Reference(sram_mm2s_contact_18, (2.6325,22.3575)))
c_sram_mm2s_wordline_drive.add(gdstk.Reference(sram_mm2s_contact_21, (2.63,22.355)))
c_sram_mm2s_wordline_drive.add(gdstk.Reference(sram_mm2s_contact_17, (0.4925,-0.0675)))
c_sram_mm2s_wordline_drive.add(gdstk.Reference(sram_mm2s_contact_18, (0.4925,-0.0675)))
c_sram_mm2s_wordline_drive.add(gdstk.Reference(sram_mm2s_contact_21, (0.49,-0.07)))
c_sram_mm2s_wordline_drive.add(gdstk.Reference(sram_mm2s_contact_17, (0.4925,2.9225)))
c_sram_mm2s_wordline_drive.add(gdstk.Reference(sram_mm2s_contact_18, (0.4925,2.9225)))
c_sram_mm2s_wordline_drive.add(gdstk.Reference(sram_mm2s_contact_21, (0.49,2.92)))
c_sram_mm2s_wordline_drive.add(gdstk.Reference(sram_mm2s_contact_17, (0.4925,2.9225)))
c_sram_mm2s_wordline_drive.add(gdstk.Reference(sram_mm2s_contact_18, (0.4925,2.9225)))
c_sram_mm2s_wordline_drive.add(gdstk.Reference(sram_mm2s_contact_21, (0.49,2.92)))
c_sram_mm2s_wordline_drive.add(gdstk.Reference(sram_mm2s_contact_17, (0.4925,5.9125)))
c_sram_mm2s_wordline_drive.add(gdstk.Reference(sram_mm2s_contact_18, (0.4925,5.9125)))
c_sram_mm2s_wordline_drive.add(gdstk.Reference(sram_mm2s_contact_21, (0.49,5.91)))
c_sram_mm2s_wordline_drive.add(gdstk.Reference(sram_mm2s_contact_17, (0.4925,5.9125)))
c_sram_mm2s_wordline_drive.add(gdstk.Reference(sram_mm2s_contact_18, (0.4925,5.9125)))
c_sram_mm2s_wordline_drive.add(gdstk.Reference(sram_mm2s_contact_21, (0.49,5.91)))
c_sram_mm2s_wordline_drive.add(gdstk.Reference(sram_mm2s_contact_17, (0.4925,8.9025)))
c_sram_mm2s_wordline_drive.add(gdstk.Reference(sram_mm2s_contact_18, (0.4925,8.9025)))
c_sram_mm2s_wordline_drive.add(gdstk.Reference(sram_mm2s_contact_21, (0.49,8.9)))
c_sram_mm2s_wordline_drive.add(gdstk.Reference(sram_mm2s_contact_17, (0.4925,8.9025)))
c_sram_mm2s_wordline_drive.add(gdstk.Reference(sram_mm2s_contact_18, (0.4925,8.9025)))
c_sram_mm2s_wordline_drive.add(gdstk.Reference(sram_mm2s_contact_21, (0.49,8.9)))
c_sram_mm2s_wordline_drive.add(gdstk.Reference(sram_mm2s_contact_17, (0.4925,11.8925)))
c_sram_mm2s_wordline_drive.add(gdstk.Reference(sram_mm2s_contact_18, (0.4925,11.8925)))
c_sram_mm2s_wordline_drive.add(gdstk.Reference(sram_mm2s_contact_21, (0.49,11.89)))
c_sram_mm2s_wordline_drive.add(gdstk.Reference(sram_mm2s_contact_17, (0.4925,11.8925)))
c_sram_mm2s_wordline_drive.add(gdstk.Reference(sram_mm2s_contact_18, (0.4925,11.8925)))
c_sram_mm2s_wordline_drive.add(gdstk.Reference(sram_mm2s_contact_21, (0.49,11.89)))
c_sram_mm2s_wordline_drive.add(gdstk.Reference(sram_mm2s_contact_17, (0.4925,14.8825)))
c_sram_mm2s_wordline_drive.add(gdstk.Reference(sram_mm2s_contact_18, (0.4925,14.8825)))
c_sram_mm2s_wordline_drive.add(gdstk.Reference(sram_mm2s_contact_21, (0.49,14.88)))
c_sram_mm2s_wordline_drive.add(gdstk.Reference(sram_mm2s_contact_17, (0.4925,14.8825)))
c_sram_mm2s_wordline_drive.add(gdstk.Reference(sram_mm2s_contact_18, (0.4925,14.8825)))
c_sram_mm2s_wordline_drive.add(gdstk.Reference(sram_mm2s_contact_21, (0.49,14.88)))
c_sram_mm2s_wordline_drive.add(gdstk.Reference(sram_mm2s_contact_17, (0.4925,17.8725)))
c_sram_mm2s_wordline_drive.add(gdstk.Reference(sram_mm2s_contact_18, (0.4925,17.8725)))
c_sram_mm2s_wordline_drive.add(gdstk.Reference(sram_mm2s_contact_21, (0.49,17.87)))
c_sram_mm2s_wordline_drive.add(gdstk.Reference(sram_mm2s_contact_17, (0.4925,17.8725)))
c_sram_mm2s_wordline_drive.add(gdstk.Reference(sram_mm2s_contact_18, (0.4925,17.8725)))
c_sram_mm2s_wordline_drive.add(gdstk.Reference(sram_mm2s_contact_21, (0.49,17.87)))
c_sram_mm2s_wordline_drive.add(gdstk.Reference(sram_mm2s_contact_17, (0.4925,20.8625)))
c_sram_mm2s_wordline_drive.add(gdstk.Reference(sram_mm2s_contact_18, (0.4925,20.8625)))
c_sram_mm2s_wordline_drive.add(gdstk.Reference(sram_mm2s_contact_21, (0.49,20.86)))
c_sram_mm2s_wordline_drive.add(gdstk.Reference(sram_mm2s_contact_17, (0.4925,20.8625)))
c_sram_mm2s_wordline_drive.add(gdstk.Reference(sram_mm2s_contact_18, (0.4925,20.8625)))
c_sram_mm2s_wordline_drive.add(gdstk.Reference(sram_mm2s_contact_21, (0.49,20.86)))
c_sram_mm2s_wordline_drive.add(gdstk.Reference(sram_mm2s_contact_17, (0.4925,23.8525)))
c_sram_mm2s_wordline_drive.add(gdstk.Reference(sram_mm2s_contact_18, (0.4925,23.8525)))
c_sram_mm2s_wordline_drive.add(gdstk.Reference(sram_mm2s_contact_21, (0.49,23.85)))
c_sram_mm2s_wordline_drive.add(gdstk.Label('en', (1.0075,11.96), layer=13, texttype=0))
c_sram_mm2s_wordline_drive.add(gdstk.Label('in_0', (0.7925,0.4275), layer=11, texttype=0))
c_sram_mm2s_wordline_drive.add(gdstk.Label('wl_0', (2.125,0.6875), layer=11, texttype=0))
c_sram_mm2s_wordline_drive.add(gdstk.Label('in_1', (0.7925,2.5625), layer=11, texttype=0))
c_sram_mm2s_wordline_drive.add(gdstk.Label('wl_1', (2.125,2.3025), layer=11, texttype=0))
c_sram_mm2s_wordline_drive.add(gdstk.Label('in_2', (0.7925,3.4175), layer=11, texttype=0))
c_sram_mm2s_wordline_drive.add(gdstk.Label('wl_2', (2.125,3.6775), layer=11, texttype=0))
c_sram_mm2s_wordline_drive.add(gdstk.Label('in_3', (0.7925,5.5525), layer=11, texttype=0))
c_sram_mm2s_wordline_drive.add(gdstk.Label('wl_3', (2.125,5.2925), layer=11, texttype=0))
c_sram_mm2s_wordline_drive.add(gdstk.Label('in_4', (0.7925,6.4075), layer=11, texttype=0))
c_sram_mm2s_wordline_drive.add(gdstk.Label('wl_4', (2.125,6.6675), layer=11, texttype=0))
c_sram_mm2s_wordline_drive.add(gdstk.Label('in_5', (0.7925,8.5425), layer=11, texttype=0))
c_sram_mm2s_wordline_drive.add(gdstk.Label('wl_5', (2.125,8.2825), layer=11, texttype=0))
c_sram_mm2s_wordline_drive.add(gdstk.Label('in_6', (0.7925,9.3975), layer=11, texttype=0))
c_sram_mm2s_wordline_drive.add(gdstk.Label('wl_6', (2.125,9.6575), layer=11, texttype=0))
c_sram_mm2s_wordline_drive.add(gdstk.Label('in_7', (0.7925,11.5325), layer=11, texttype=0))
c_sram_mm2s_wordline_drive.add(gdstk.Label('wl_7', (2.125,11.2725), layer=11, texttype=0))
c_sram_mm2s_wordline_drive.add(gdstk.Label('in_8', (0.7925,12.3875), layer=11, texttype=0))
c_sram_mm2s_wordline_drive.add(gdstk.Label('wl_8', (2.125,12.6475), layer=11, texttype=0))
c_sram_mm2s_wordline_drive.add(gdstk.Label('in_9', (0.7925,14.5225), layer=11, texttype=0))
c_sram_mm2s_wordline_drive.add(gdstk.Label('wl_9', (2.125,14.2625), layer=11, texttype=0))
c_sram_mm2s_wordline_drive.add(gdstk.Label('in_10', (0.7925,15.3775), layer=11, texttype=0))
c_sram_mm2s_wordline_drive.add(gdstk.Label('wl_10', (2.125,15.6375), layer=11, texttype=0))
c_sram_mm2s_wordline_drive.add(gdstk.Label('in_11', (0.7925,17.5125), layer=11, texttype=0))
c_sram_mm2s_wordline_drive.add(gdstk.Label('wl_11', (2.125,17.2525), layer=11, texttype=0))
c_sram_mm2s_wordline_drive.add(gdstk.Label('in_12', (0.7925,18.3675), layer=11, texttype=0))
c_sram_mm2s_wordline_drive.add(gdstk.Label('wl_12', (2.125,18.6275), layer=11, texttype=0))
c_sram_mm2s_wordline_drive.add(gdstk.Label('in_13', (0.7925,20.5025), layer=11, texttype=0))
c_sram_mm2s_wordline_drive.add(gdstk.Label('wl_13', (2.125,20.2425), layer=11, texttype=0))
c_sram_mm2s_wordline_drive.add(gdstk.Label('in_14', (0.7925,21.3575), layer=11, texttype=0))
c_sram_mm2s_wordline_drive.add(gdstk.Label('wl_14', (2.125,21.6175), layer=11, texttype=0))
c_sram_mm2s_wordline_drive.add(gdstk.Label('in_15', (0.7925,23.4925), layer=11, texttype=0))
c_sram_mm2s_wordline_drive.add(gdstk.Label('wl_15', (2.125,23.2325), layer=11, texttype=0))
c_sram_mm2s_wordline_drive.add(gdstk.Label('vdd', (2.7,11.96), layer=17, texttype=0))
c_sram_mm2s_wordline_drive.add(gdstk.Label('gnd', (0.56,11.96), layer=17, texttype=0))

lib.write_gds('sram_mm2s_wordline_driver_array.gds')
